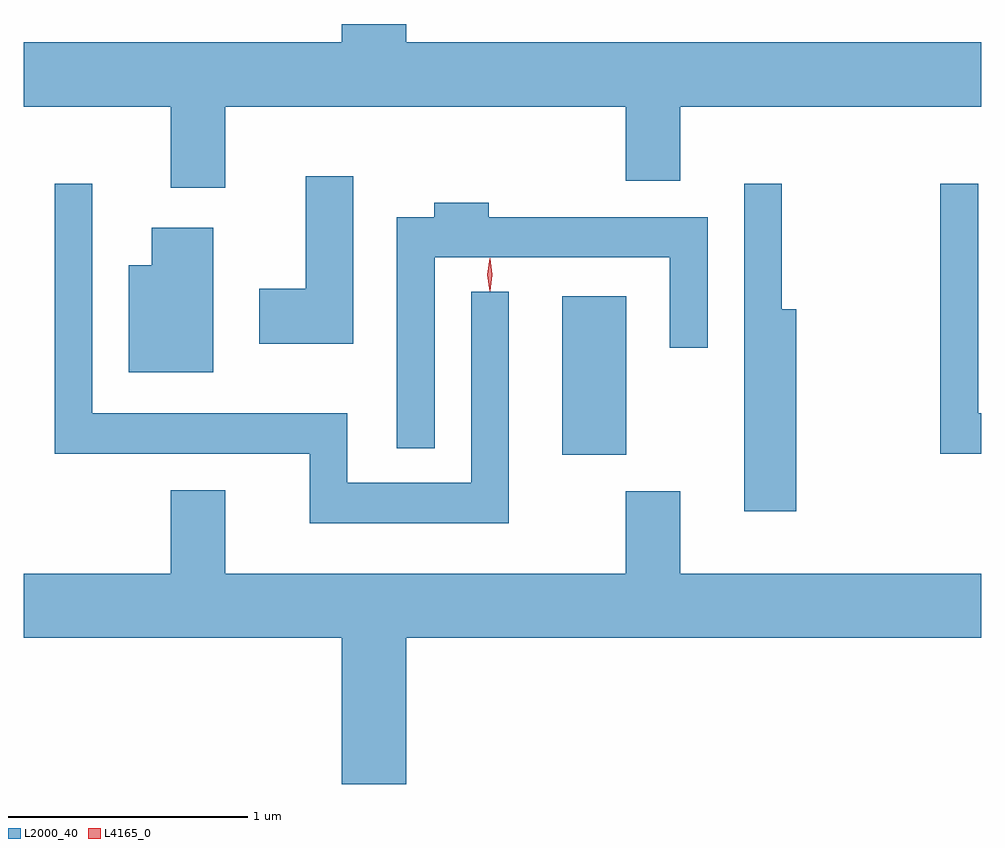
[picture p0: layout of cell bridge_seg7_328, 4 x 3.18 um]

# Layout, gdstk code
import gdstk
lib = gdstk.Library(unit=1e-6, precision=1e-09)
def R(c, l, rs):  # rectangles x0, y0, x1, y1
    for r in rs: c.add(gdstk.rectangle(r[:2], r[2:], *l))
def P(c, l, *ps):  # polygons
    for p in ps: c.add(gdstk.Polygon(p, *l))
L2000_40 = (2000, 40)
L4165_0 = (4165, 0)

bridge_seg7_328 = lib.new_cell('bridge_seg7_328')
R(bridge_seg7_328, L2000_40, [(1175.036,1759.481,1175.304,1760.144)])
P(bridge_seg7_328, L2000_40, [(1173.629,1760.936),(1175.301,1760.936),(1175.301,1760.626),(1175.529,1760.626),(1175.529,1760.936),(1176.787,1760.936),(1176.787,1761.204),(1174.384,1761.204),(1174.384,1761.281),(1174.116,1761.281),(1174.116,1761.204),(1172.787,1761.204),(1172.787,1760.936),(1173.401,1760.936),(1173.401,1760.596),(1173.629,1760.596)],
  [(1174.164,1760.644),(1173.966,1760.644),(1173.966,1760.174),(1173.771,1760.174),(1173.771,1759.946),(1174.164,1759.946)],
  [(1176.014,1760.089),(1175.954,1760.089),(1175.954,1760.613),(1175.796,1760.613),(1175.796,1759.246),(1176.014,1759.246)],
  [(1174.814,1760.163),(1174.656,1760.163),(1174.656,1759.364),(1174.139,1759.364),(1174.139,1759.654),(1173.074,1759.654),(1173.074,1760.613),(1172.916,1760.613),(1172.916,1759.486),(1173.981,1759.486),(1173.981,1759.196),(1174.814,1759.196)],
  [(1176.787,1759.654),(1176.774,1759.654),(1176.774,1760.613),(1176.616,1760.613),(1176.616,1759.486),(1176.787,1759.486)],
  [(1174.504,1760.306),(1175.486,1760.306),(1175.486,1759.928),(1175.644,1759.928),(1175.644,1760.474),(1174.729,1760.474),(1174.729,1760.534),(1174.501,1760.534),(1174.501,1760.474),(1174.346,1760.474),(1174.346,1759.508),(1174.504,1759.508)],
  [(1173.579,1760.429),(1173.321,1760.429),(1173.321,1760.274),(1173.226,1760.274),(1173.226,1759.826),(1173.579,1759.826)],
  [(1174.384,1758.716),(1176.787,1758.716),(1176.787,1758.984),(1175.529,1758.984),(1175.529,1759.329),(1175.301,1759.329),(1175.301,1758.984),(1173.629,1758.984),(1173.629,1759.334),(1173.401,1759.334),(1173.401,1758.984),(1172.787,1758.984),(1172.787,1758.716),(1174.116,1758.716),(1174.116,1758.106),(1174.384,1758.106)])
P(bridge_seg7_328, L4165_0, [(1174.734,1760.164),(1174.734,1760.164),(1174.724,1760.233),(1174.734,1760.302),(1174.734,1760.303),(1174.735,1760.302),(1174.744,1760.233),(1174.735,1760.164)],
  [(1174.734,1760.167),(1174.734,1760.167),(1174.724,1760.234),(1174.734,1760.3),(1174.734,1760.3),(1174.734,1760.3),(1174.744,1760.234),(1174.735,1760.167)])

lib.write_gds('bridge_seg7_328.gds')
